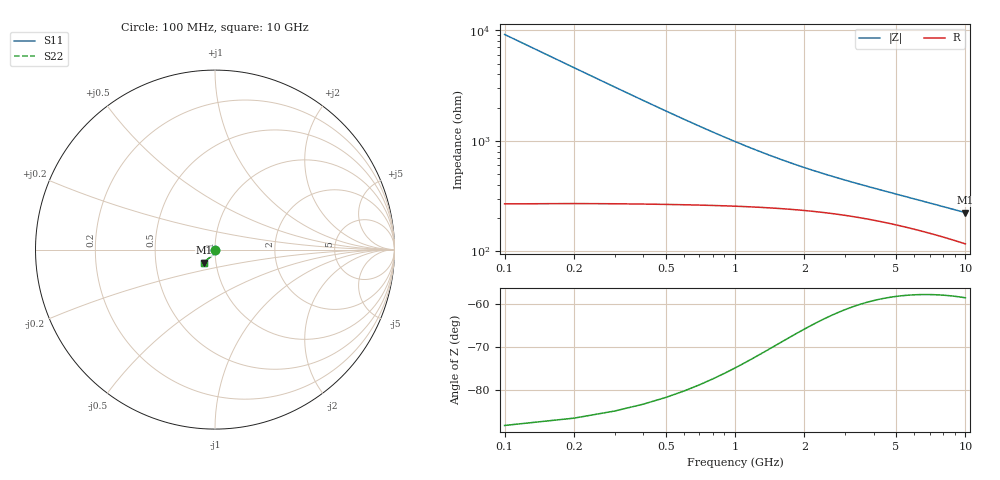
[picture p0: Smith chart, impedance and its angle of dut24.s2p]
! Touchstone file exported from HFSS 2024.1.0
!  File:  C:/UserFiles/LocalFiles/RDL_TSV_Batchsim/temp_TSV1_24_1778747261.aedt
!  Generated:  04:31:23 PM May 14, 2026
!  Design:  TSV1
!  Project:  temp_TSV1_24_1778747261
!  Setup:  Setup1
!  Solution:  Sweep
! Variables:
!  dtsv = 23.12um
!  hbump = 3um
!  htsv = 61.8um
!  lrdl = 252.1521522um
!  p = 40
!  p1 = 48.69um
!  t = 500um
!  trdl = 3um
!  wrdl = 24.89489489um
# GHz S MA R 50.000000
! Terminal data exported
! Port[1] = TSV22_T1
! Port[2] = TSV22_T2
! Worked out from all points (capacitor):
!   100 points, 100 MHz to 10 GHz, reference 50 ohm
!   read as one part in shunt: C = 174 fF near 100 MHz
!   lowest |Z| = 224 ohm at 10 GHz (marker M1)
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0.1  0.002541 -90.2  0.9998 -0.2  0.9998 -0.2  0.002541 -90.2
! Gamma 0 0 0 0
! Port Impedance 50 0 50 0
0.2  0.005073 -92.9  0.9996 -0.3  0.9996 -0.3  0.005073 -92.9
0.3  0.007584 -95.0  0.9991 -0.5  0.9991 -0.5  0.007584 -95.0
0.4  0.01006 -96.9  0.9986 -0.7  0.9986 -0.7  0.01006 -96.9
0.5  0.0125 -98.7  0.9978 -0.8  0.9978 -0.8  0.0125 -98.7
0.6  0.01487 -100.4  0.997 -1.0  0.997 -1.0  0.01487 -100.4
0.7  0.01719 -102.1  0.996 -1.1  0.996 -1.1  0.01719 -102.1
0.8  0.01942 -103.7  0.995 -1.2  0.995 -1.2  0.01942 -103.7
0.9  0.02159 -105.2  0.9939 -1.4  0.9939 -1.4  0.02159 -105.2
1.1  0.02567 -108.0  0.9917 -1.6  0.9917 -1.6  0.02567 -108.0
1.4  0.0312 -111.7  0.9881 -1.9  0.9881 -1.9  0.0312 -111.7
1.6  0.0345 -113.8  0.9858 -2.1  0.9858 -2.1  0.0345 -113.8
1.8  0.03753 -115.7  0.9835 -2.2  0.9835 -2.2  0.03753 -115.7
2.1  0.04163 -118.1  0.9803 -2.5  0.9803 -2.5  0.04163 -118.1
2.5  0.0464 -120.6  0.9764 -2.7  0.9764 -2.7  0.0464 -120.6
2.9  0.05059 -122.6  0.9729 -2.9  0.9729 -2.9  0.05059 -122.6
3.4  0.05523 -124.4  0.969 -3.2  0.969 -3.2  0.05523 -124.4
4.2  0.06172 -126.4  0.9638 -3.6  0.9638 -3.6  0.06172 -126.4
5.1  0.06814 -127.8  0.9589 -3.9  0.9589 -3.9  0.06814 -127.8
6.7  0.07812 -129.1  0.9519 -4.6  0.9519 -4.6  0.07812 -129.1
8.4  0.08743 -129.8  0.9458 -5.2  0.9458 -5.2  0.08743 -129.8
10  0.09541 -130.1  0.941 -5.8  0.941 -5.8  0.09541 -130.1
